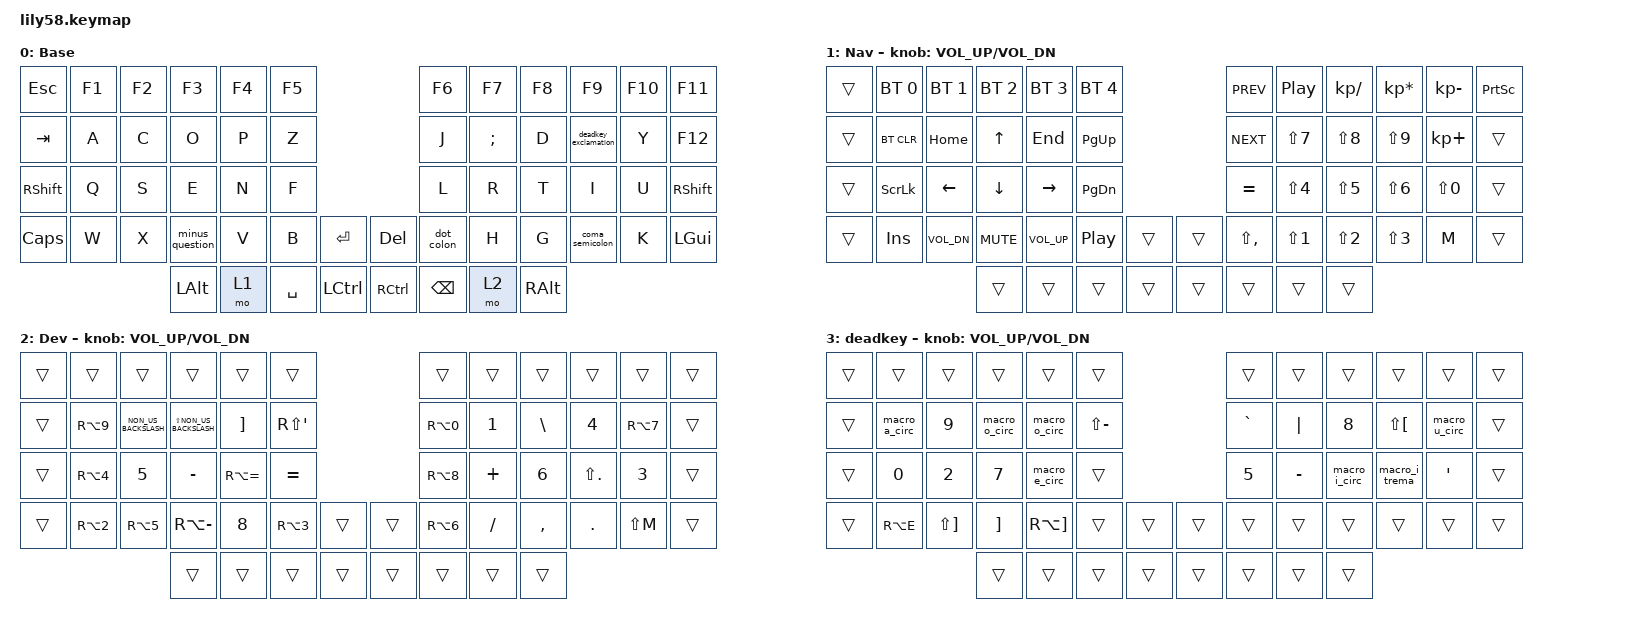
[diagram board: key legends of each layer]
/*
 * Copyright (c) 2020 The ZMK Contributors
 *
 * SPDX-License-Identifier: MIT
 */

#include <behaviors.dtsi>
#include <dt-bindings/zmk/bt.h>
#include <dt-bindings/zmk/keys.h>

/ {
    behaviors {
        minus_question: minus_question {
            compatible = "zmk,behavior-mod-morph";
            #binding-cells = <0>;
            bindings = <&kp N6>, <&kp LS(M)>;

            mods = <(MOD_LSFT|MOD_RSFT)>;
        };

        dot_colon: dot_colon {
            compatible = "zmk,behavior-mod-morph";
            #binding-cells = <0>;
            bindings = <&kp LS(COMMA)>, <&kp DOT>;

            mods = <(MOD_LSFT|MOD_RSFT)>;
        };

        coma_semicolon: coma_semicolon {
            compatible = "zmk,behavior-mod-morph";
            #binding-cells = <0>;
            bindings = <&kp M>, <&kp COMMA>;

            mods = <(MOD_LSFT|MOD_RSFT)>;
        };

        deadkey_exclamation: deadkey_exclamation {
            compatible = "zmk,behavior-mod-morph";
            #binding-cells = <0>;
            bindings = <&sl 3>, <&kp SLASH>;

            mods = <(MOD_LSFT|MOD_RSFT)>;
        };
    };

    macros {
        macro_a_circ: macro_a_circ {
            compatible = "zmk,behavior-macro";
            #binding-cells = <0>;
            bindings = <&kp LEFT_BRACKET>, <&macro_wait_time 30>, <&kp Q>;
        };

        macro_o_circ: macro_o_circ {
            compatible = "zmk,behavior-macro";
            #binding-cells = <0>;
            bindings = <&kp LEFT_BRACKET>, <&macro_wait_time 30>, <&kp O>;
        };

        macro_u_circ: macro_u_circ {
            compatible = "zmk,behavior-macro";
            #binding-cells = <0>;
            bindings = <&kp LEFT_BRACKET>, <&macro_wait_time 30>, <&kp U>;
        };

        macro_e_circ: macro_e_circ {
            compatible = "zmk,behavior-macro";
            #binding-cells = <0>;
            bindings = <&kp LEFT_BRACKET>, <&macro_wait_time 30>, <&kp E>;
        };

        macro_i_circ: macro_i_circ {
            compatible = "zmk,behavior-macro";
            #binding-cells = <0>;
            bindings = <&kp LEFT_BRACKET>, <&macro_wait_time 30>, <&kp I>;
        };

        macro_i_trema: macro_i_trema {
            compatible = "zmk,behavior-macro";
            #binding-cells = <0>;
            bindings = <&kp LS(LEFT_BRACKET)>, <&macro_wait_time 30>, <&kp I>;
        };
    };

    keymap {
        compatible = "zmk,keymap";

        default_layer {
            // ------------------------------------------------------------------------------------------------------------
            // |  ESC  |  1  |  2  |  3   |  4   |  5   |                   |  6   |  7    |  8    |  9   |   0   |   `   |
            // |  TAB  |  Q  |  W  |  E   |  R   |  T   |                   |  Y   |  U    |  I    |  O   |   P   |   -   |
            // |  CTRL |  A  |  S  |  D   |  F   |  G   |                   |  H   |  J    |  K    |  L   |   ;   |   '   |
            // | SHIFT |  Z  |  X  |  C   |  V   |  B   |   "["  |  |  "]"  |  N   |  M    |  ,    |  .   |   /   | SHIFT |
            //                     | ALT  | GUI  | LOWER|  SPACE |  | ENTER | RAISE| BSPC  | GUI   |

            display-name = "Base";
            bindings = <
&kp ESC       &kp F1  &kp F2  &kp F3           &kp F4  &kp F5                              &kp F6         &kp F7    &kp F8         &kp F9                &kp F10  &kp F11
&kp TAB       &kp A   &kp C   &kp O            &kp P   &kp Z                               &kp J          &kp SEMI  &kp D          &deadkey_exclamation  &kp Y    &kp F12
&kp RSHIFT    &kp Q   &kp S   &kp E            &kp N   &kp F                               &kp L          &kp R     &kp T          &kp I                 &kp U    &kp RSHIFT
&kp CAPSLOCK  &kp W   &kp X   &minus_question  &kp V   &kp B      &kp ENTER    &kp DELETE  &dot_colon     &kp H     &kp G          &coma_semicolon       &kp K    &kp LGUI
                              &kp LALT         &mo 1   &kp SPACE  &kp LCTRL    &kp RCTRL   &kp BACKSPACE  &mo 2     &kp RIGHT_ALT
            >;
        };

        nav_layer {
            // ------------------------------------------------------------------------------------------------------------
            // | BTCLR | BT1 | BT2 |  BT3 |  BT4 |  BT5 |                   |      |       |       |      |       |       |
            // |  F1   |  F2 |  F3 |  F4  |  F5  |  F6  |                   |  F7  |  F8   |  F9   |  F10 |  F11  |  F12  |
            // |   `   |  !  |  @  |  #   |  $   |  %   |                   |  ^   |  &    |  *    |  (   |   )   |   ~   |
            // |       |     |     |      |      |      |        |  |       |      |  _    |  +    |  {   |   }   |  "|"  |
            //                     |      |      |      |        |  |       |      |       |       |

            display-name = "Nav";
            bindings = <
&trans  &bt BT_SEL 0    &bt BT_SEL 1  &bt BT_SEL 2  &bt BT_SEL 3  &bt BT_SEL 4                        &kp C_PREV  &kp C_PLAY_PAUSE  &kp KP_DIVIDE  &kp KP_MULTIPLY   &kp KP_MINUS   &kp PRINTSCREEN
&trans  &bt BT_CLR      &kp HOME      &kp UP_ARROW  &kp END       &kp PAGE_UP                         &kp C_NEXT  &kp LS(N7)        &kp LS(N8)     &kp LS(N9)        &kp KP_PLUS    &trans
&trans  &kp SCROLLLOCK  &kp LEFT      &kp DOWN      &kp RIGHT     &kp PAGE_DOWN                       &kp EQUAL   &kp LS(N4)        &kp LS(N5)     &kp LS(NUMBER_6)  &kp LS(N0)     &trans
&trans  &kp INSERT      &kp C_VOL_DN  &kp K_MUTE    &kp C_VOL_UP  &kp C_PLAY_PAUSE  &trans    &trans  &kp LS(COMMA)       &kp LS(N1)        &kp LS(N2)     &kp LS(N3)        &kp M  &trans
                                      &trans        &trans        &trans            &trans    &trans  &trans      &trans            &trans
            >;

            sensor-bindings = <&inc_dec_kp C_VOL_UP C_VOL_DN>;
        };

        dev_layer {
            // ------------------------------------------------------------------------------------------------------------
            // |       |     |     |      |      |      |                   |      |       |       |      |       |       |
            // |   `   |  1  |  2  |  3   |  4   |  5   |                   |  6   |   7   |   8   |  9   |   0   |       |
            // |   F1  |  F2 |  F3 |  F4  |  F5  |  F6  |                   |      |   <-  |   v   |  ^   |  ->   |       |
            // |   F7  |  F8 |  F9 |  F10 |  F11 |  F12 |        |  |       |  +   |   -   |   =   |  [   |   ]   |   \   |
            //                     |      |      |      |        |  |       |      |       |       |

            display-name = "Dev";
            bindings = <
&trans  &trans      &trans                &trans                    &trans             &trans                                  &trans      &trans     &trans         &trans       &trans      &trans
&trans  &kp RA(N9)  &kp NON_US_BACKSLASH  &kp LS(NON_US_BACKSLASH)  &kp RIGHT_BRACKET  &kp RS(SINGLE_QUOTE)                    &kp RA(N0)  &kp N1     &kp BACKSLASH  &kp N4       &kp RA(N7)  &trans
&trans  &kp RA(N4)  &kp N5                &kp MINUS                 &kp RA(EQUAL)      &kp EQUAL                               &kp RA(N8)  &kp PLUS   &kp N6         &kp LS(DOT)  &kp N3      &trans
&trans  &kp RA(N2)  &kp RA(N5)            &kp RA(MINUS)             &kp N8             &kp RA(N3)            &trans    &trans  &kp RA(N6)  &kp SLASH  &kp COMMA      &kp DOT      &kp LS(M)   &trans
                                          &trans                    &trans             &trans                &trans    &trans  &trans      &trans     &trans
            >;

            sensor-bindings = <&inc_dec_kp C_VOL_UP C_VOL_DN>;
        };

        dead_key {
            // ------------------------------------------------------------------------------------------------------------
            // |       |     |     |      |      |      |                   |      |       |       |      |       |       |
            // |   `   |  1  |  2  |  3   |  4   |  5   |                   |  6   |   7   |   8   |  9   |   0   |       |
            // |   F1  |  F2 |  F3 |  F4  |  F5  |  F6  |                   |      |   <-  |   v   |  ^   |  ->   |       |
            // |   F7  |  F8 |  F9 |  F10 |  F11 |  F12 |        |  |       |  +   |   -   |   =   |  [   |   ]   |   \   |
            //                     |      |      |      |        |  |       |      |       |       |

            display-name = "deadkey";
            bindings = <
&trans  &trans         &trans                 &trans             &trans                 &trans                           &trans     &trans     &trans         &trans                &trans            &trans
&trans  &macro_a_circ  &kp N9                 &macro_o_circ      &macro_o_circ          &kp LS(MINUS)                    &kp GRAVE  &kp PIPE   &kp N8         &kp LS(LEFT_BRACKET)  &macro_u_circ     &trans
&trans  &kp N0         &kp N2                 &kp N7             &macro_e_circ          &trans                           &kp N5     &kp MINUS  &macro_i_circ  &macro_i_trema        &kp SINGLE_QUOTE  &trans
&trans  &kp RA(E)      &kp LS(RIGHT_BRACKET)  &kp RIGHT_BRACKET  &kp RA(RIGHT_BRACKET)  &trans         &trans    &trans  &trans     &trans     &trans         &trans                &trans            &trans
                                              &trans             &trans                 &trans         &trans    &trans  &trans     &trans     &trans
            >;

            sensor-bindings = <&inc_dec_kp C_VOL_UP C_VOL_DN>;
        };

        extra_2 { status = "reserved"; };

        extra_3 { status = "reserved"; };
    };
};
